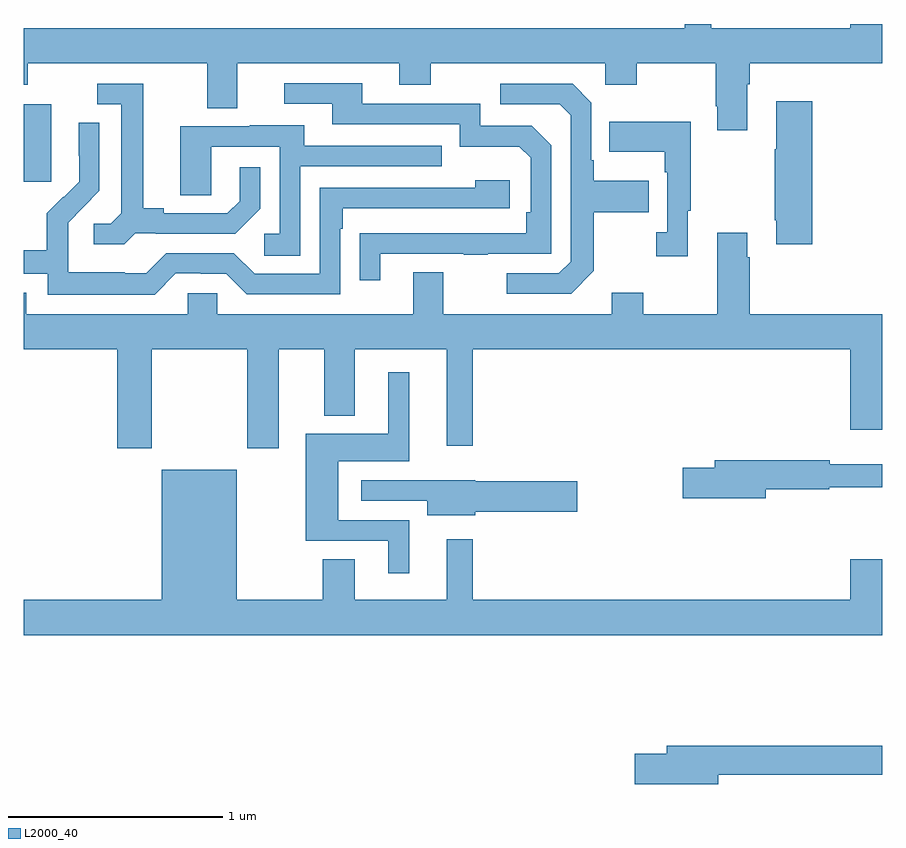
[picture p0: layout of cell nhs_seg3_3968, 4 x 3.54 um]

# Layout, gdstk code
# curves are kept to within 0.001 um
import gdstk
lib = gdstk.Library(unit=1e-6, precision=1e-09)
def R(c, l, rs):  # rectangles x0, y0, x1, y1
    for r in rs: c.add(gdstk.rectangle(r[:2], r[2:], *l))
def P(c, l, *ps):  # polygons
    for p in ps: c.add(gdstk.Polygon(p, *l))
L2000_40 = (2000, 40)

nhs_seg3_3968 = lib.new_cell('nhs_seg3_3968')
R(nhs_seg3_3968, L2000_40, [(317,733.665,317.128,734.026)])
P(nhs_seg3_3968, L2000_40, [(320.371,734.12),(320.384,734.12),(320.384,734.216),(321,734.216),(321,734.4),(320.852,734.4),(320.852,734.38),(320.203,734.38),(320.203,734.4),(320.081,734.4),(320.081,734.38),(317,734.38),(317,734.117),(317.019,734.117),(317.019,734.216),(317.855,734.216),(317.855,734.008),(317.995,734.008),(317.995,734.216),(318.749,734.216),(318.749,734.117),(318.897,734.117),(318.897,734.216),(319.71,734.216),(319.71,734.117),(319.857,734.117),(319.857,734.216),(320.224,734.216),(320.224,734.017),(320.231,734.017),(320.231,733.905),(320.371,733.905)],
  [(318.661,733.329),(319.051,733.329),(319.051,733.324),(319.163,733.324),(319.163,733.329),(319.458,733.329),(319.458,733.836),(319.368,733.926),(319.128,733.926),(319.128,734.028),(318.577,734.028),(318.577,734.124),(318.213,734.124),(318.213,734.028),(318.437,734.028),(318.437,733.932),(319.032,733.932),(319.032,733.829),(319.309,733.829),(319.362,733.776),(319.362,733.522),(319.342,733.522),(319.342,733.425),(318.565,733.424),(318.565,733.206),(318.661,733.206)],
  [(319.657,733.249),(319.657,733.522),(319.913,733.522),(319.913,733.669),(319.657,733.669),(319.657,733.765),(319.644,733.765),(319.644,734.034),(319.557,734.121),(319.221,734.121),(319.221,734.025),(319.497,734.025),(319.548,733.974),(319.548,733.293),(319.494,733.239),(319.251,733.239),(319.251,733.143),(319.551,733.143)],
  [(317.52,733.425),(317.614,733.425),(317.614,733.422),(317.986,733.422),(318.102,733.538),(318.102,733.732),(318.005,733.732),(318.005,733.575),(317.948,733.518),(317.653,733.518),(317.653,733.541),(317.557,733.541),(317.557,734.121),(317.343,734.121),(317.343,734.025),(317.453,734.025),(317.453,733.517),(317.406,733.47),(317.325,733.47),(317.325,733.373),(317.468,733.373)],
  [(320.675,734.041),(320.507,734.041),(320.507,733.817),(320.5,733.817),(320.5,733.486),(320.507,733.486),(320.507,733.374),(320.675,733.374)],
  [(320.095,733.529),(320.107,733.529),(320.107,733.945),(319.729,733.945),(319.729,733.805),(319.986,733.805),(319.986,733.709),(319.998,733.709),(319.998,733.43),(319.947,733.43),(319.947,733.317),(320.095,733.317)],
  [(317.709,733.239),(317.825,733.239),(317.825,733.236),(317.943,733.236),(318.039,733.14),(318.474,733.14),(318.474,733.445),(318.487,733.445),(318.487,733.542),(319.264,733.542),(319.264,733.672),(319.103,733.672),(319.103,733.638),(318.378,733.638),(318.378,733.236),(318.075,733.236),(317.979,733.332),(317.664,733.332),(317.571,733.239),(317.471,733.239),(317.471,733.243),(317.208,733.243),(317.208,733.377),(317.206,733.377),(317.206,733.474),(317.352,733.622),(317.352,733.94),(317.256,733.94),(317.256,733.786),(317.258,733.786),(317.258,733.664),(317.187,733.593),(317.184,733.596),(317.107,733.519),(317.107,733.345),(317,733.345),(317,733.236),(317.112,733.236),(317.112,733.139),(317.609,733.139)],
  [(318.288,733.737),(318.947,733.737),(318.947,733.833),(318.307,733.833),(318.307,733.927),(318.053,733.927),(318.053,733.923),(317.729,733.923),(317.729,733.603),(317.874,733.603),(317.874,733.827),(318.192,733.827),(318.192,733.422),(318.12,733.422),(318.12,733.321),(318.288,733.321)],
  [(317.595,732.884),(318.04,732.884),(318.04,732.423),(318.187,732.423),(318.187,732.884),(318.401,732.884),(318.401,732.575),(318.541,732.575),(318.541,732.884),(318.971,732.884),(318.971,732.435),(319.093,732.435),(319.093,732.884),(320.852,732.884),(320.852,732.51),(321,732.51),(321,733.048),(320.384,733.048),(320.384,733.313),(320.371,733.313),(320.371,733.426),(320.231,733.426),(320.231,733.048),(319.887,733.048),(319.887,733.147),(319.739,733.147),(319.739,733.048),(318.955,733.048),(318.955,733.243),(318.815,733.243),(318.815,733.048),(317.901,733.048),(317.901,733.146),(317.763,733.146),(317.763,733.048),(317.011,733.048),(317.011,733.147),(317,733.147),(317,732.884),(317.435,732.884),(317.435,732.423),(317.595,732.423)],
  [(318.796,732.087),(318.466,732.087),(318.466,732.362),(318.796,732.362),(318.796,732.778),(318.698,732.778),(318.698,732.49),(318.313,732.49),(318.313,731.991),(318.698,731.991),(318.698,731.841),(318.796,731.841)],
  [(320.458,732.232),(320.754,732.232),(320.754,732.24),(321,732.24),(321,732.349),(320.756,732.349),(320.756,732.368),(320.219,732.368),(320.219,732.332),(320.07,732.332),(320.07,732.19),(320.458,732.19)],
  [(321,731.905),(320.852,731.905),(320.852,731.716),(319.093,731.716),(319.093,731.998),(318.971,731.998),(318.971,731.716),(318.541,731.716),(318.541,731.906),(318.394,731.906),(318.394,731.716),(317.992,731.716),(317.992,732.322),(317.642,732.322),(317.642,731.716),(317,731.716),(317,731.552),(321,731.552)],
  [(319.104,732.127),(319.579,732.127),(319.579,732.269),(319.104,732.269),(319.104,732.274),(318.885,732.274),(318.885,732.273),(318.573,732.273),(318.573,732.177),(318.881,732.177),(318.881,732.11),(319.104,732.11)],
  [(320.236,730.9),(321,730.9),(321,731.036),(319.997,731.036),(319.997,731),(319.848,731),(319.848,730.858),(320.236,730.858)])

lib.write_gds('nhs_seg3_3968.gds')
